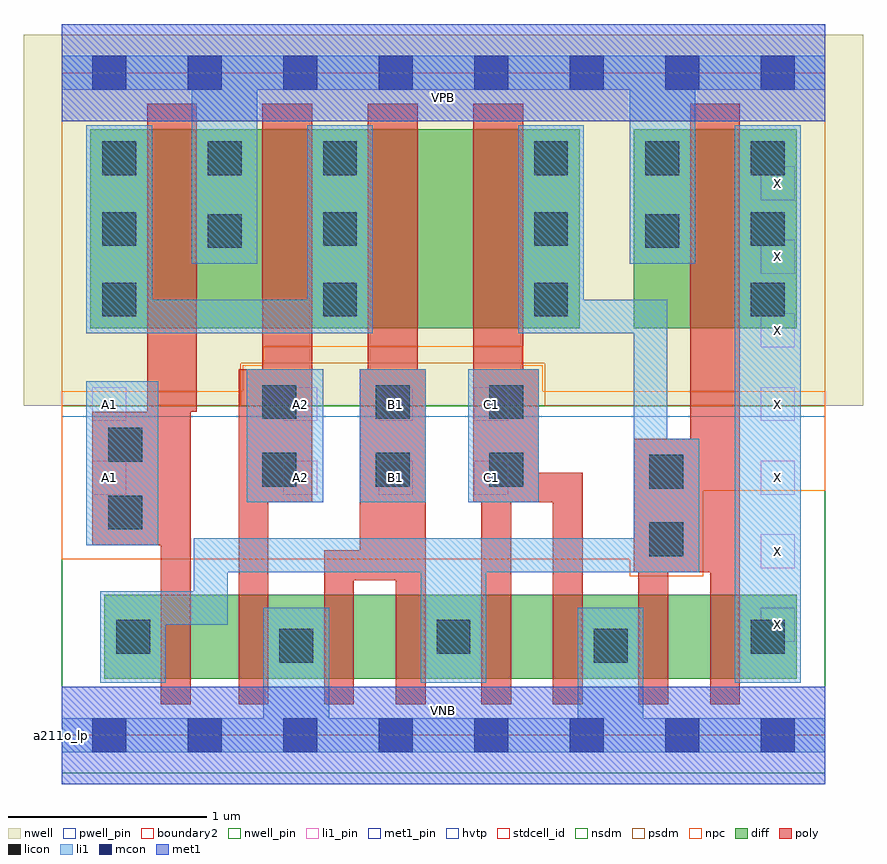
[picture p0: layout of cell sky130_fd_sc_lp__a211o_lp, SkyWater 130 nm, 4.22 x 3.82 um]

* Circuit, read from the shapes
.subckt sky130_fd_sc_lp__a211o_lp A1 A2 B1 C1 VGND VNB VPB VPWR X
XM1 n1 A1 n2 VNB sky130_fd_pr__nfet_01v8 w=0.42 l=0.15
XM2 VGND A2 n1 VNB sky130_fd_pr__nfet_01v8 w=0.42 l=0.15
XM3 n3 B1 VGND VNB sky130_fd_pr__nfet_01v8 w=0.42 l=0.15
XM4 n2 B1 n3 VNB sky130_fd_pr__nfet_01v8 w=0.42 l=0.15
XM5 n4 C1 n2 VNB sky130_fd_pr__nfet_01v8 w=0.42 l=0.15
XM6 VGND C1 n4 VNB sky130_fd_pr__nfet_01v8 w=0.42 l=0.15
XM7 n5 n2 VGND VNB sky130_fd_pr__nfet_01v8 w=0.42 l=0.15
XM8 X n2 n5 VNB sky130_fd_pr__nfet_01v8 w=0.42 l=0.15
XM9 VPWR A1 n6 VPB sky130_fd_pr__pfet_01v8_hvt w=1 l=0.25
XM10 n6 A2 VPWR VPB sky130_fd_pr__pfet_01v8_hvt w=1 l=0.25
XM11 n7 B1 n6 VPB sky130_fd_pr__pfet_01v8_hvt w=1 l=0.25
XM12 n2 C1 n7 VPB sky130_fd_pr__pfet_01v8_hvt w=1 l=0.25
XM13 X n2 VPWR VPB sky130_fd_pr__pfet_01v8_hvt w=1 l=0.25
.ends

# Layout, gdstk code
import gdstk
lib = gdstk.Library(unit=1e-6, precision=1e-09)
def R(c, l, rs):  # rectangles x0, y0, x1, y1
    for r in rs: c.add(gdstk.rectangle(r[:2], r[2:], *l))
def A(c, l, x, y, w, h, nx, ny, dx, dy):  # array of equal rectangles
    R(c, l, [(x+i*dx, y+j*dy, x+i*dx+w, y+j*dy+h) for i in range(nx) for j in range(ny)])
def P(c, l, *ps):  # polygons
    for p in ps: c.add(gdstk.Polygon(p, *l))
nwell_pin = (64, 16)
nwell = (64, 20)
diff = (65, 20)
poly = (66, 20)
licon = (66, 44)
li1_pin = (67, 16)
li1 = (67, 20)
mcon = (67, 44)
met1_pin = (68, 16)
met1 = (68, 20)
hvtp = (78, 44)
stdcell_id = (81, 4)
nsdm = (93, 44)
psdm = (94, 20)
npc = (95, 20)
pwell_pin = (122, 16)
boundary2 = (236, 0)

sky130_fd_sc_lp__a211o_l = lib.new_cell('sky130_fd_sc_lp__a211o_lp')
R(sky130_fd_sc_lp__a211o_l, nwell_pin, [(0,3.085,3.84,3.33)])
R(sky130_fd_sc_lp__a211o_l, nwell, [(-0.19,1.655,4.03,3.52)])
R(sky130_fd_sc_lp__a211o_l, diff, [(0.215,0.285,3.695,0.705), (0.145,2.045,2.605,3.045), (2.875,2.045,3.695,3.045)])
P(sky130_fd_sc_lp__a211o_l, poly, [(0.68,3.175),(0.43,3.175),(0.43,1.625),(0.155,1.625),(0.155,0.955),(0.5,0.955),(0.5,0.155),(0.65,0.155),(0.65,1.625),(0.68,1.625)],
  [(1.26,3.175),(1.01,3.175),(1.01,1.84),(0.89,1.84),(0.89,0.155),(1.04,0.155),(1.04,1.17),(1.26,1.17)],
  [(1.83,1.84),(1.79,1.84),(1.79,3.175),(1.54,3.175),(1.54,1.84),(1.5,1.84),(1.5,0.93),(1.32,0.93),(1.32,0.155),(1.47,0.155),(1.47,0.78),(1.68,0.78),(1.68,0.155),(1.83,0.155)],
  [(2.62,1.32),(2.4,1.32),(2.4,1.84),(2.32,1.84),(2.32,3.175),(2.07,3.175),(2.07,1.17),(2.11,1.17),(2.11,0.155),(2.26,0.155),(2.26,1.17),(2.47,1.17),(2.47,0.155),(2.62,0.155)],
  [(3.41,3.175),(3.16,3.175),(3.16,1.49),(2.875,1.49),(2.875,0.82),(2.9,0.82),(2.9,0.155),(3.05,0.155),(3.05,0.82),(3.26,0.82),(3.26,0.155),(3.41,0.155)])
A(sky130_fd_sc_lp__a211o_l, licon, 1.01, 1.25, 0.17, 0.17, 3, 2, 0.57, 0.34)
A(sky130_fd_sc_lp__a211o_l, licon, 0.205, 2.105, 0.17, 0.17, 1, 3, 0, 0.355)
A(sky130_fd_sc_lp__a211o_l, licon, 1.315, 2.105, 0.17, 0.17, 1, 3, 0, 0.355)
A(sky130_fd_sc_lp__a211o_l, licon, 2.375, 2.105, 0.17, 0.17, 1, 3, 0, 0.355)
A(sky130_fd_sc_lp__a211o_l, licon, 3.465, 2.105, 0.17, 0.17, 1, 3, 0, 0.355)
R(sky130_fd_sc_lp__a211o_l, licon, [(1.095,0.365,1.265,0.535), (2.675,0.365,2.845,0.535), (0.275,0.41,0.445,0.58), (1.885,0.41,2.055,0.58), (3.465,0.41,3.635,0.58), (2.955,0.9,3.125,1.07), (0.235,1.035,0.405,1.205), (2.955,1.24,3.125,1.41), (0.235,1.375,0.405,1.545), (0.735,2.45,0.905,2.62), (2.935,2.45,3.105,2.62), (0.735,2.815,0.905,2.985), (2.935,2.815,3.105,2.985)])
A(sky130_fd_sc_lp__a211o_l, li1_pin, 3.515, 0.47, 0.17, 0.17, 1, 7, 0, 0.37)
A(sky130_fd_sc_lp__a211o_l, li1_pin, 1.115, 1.21, 0.17, 0.17, 3, 2, 0.48, 0.37)
R(sky130_fd_sc_lp__a211o_l, li1_pin, [(0.155,1.21,0.325,1.38), (0.155,1.58,0.325,1.75)])
R(sky130_fd_sc_lp__a211o_l, li1, [(3.385,0.265,3.715,3.065), (0.125,0.955,0.485,1.78), (0.93,1.17,1.315,1.84), (1.5,1.17,1.83,1.84), (2.045,1.17,2.4,1.84)])
P(sky130_fd_sc_lp__a211o_l, li1, [(2.855,2.37),(2.855,3.245),(0.985,3.245),(0.985,2.37),(0.655,2.37),(0.655,3.245),(0,3.245),(0,3.415),(3.84,3.415),(3.84,3.245),(3.185,3.245),(3.185,2.37)],
  [(1.015,0.085),(1.015,0.64),(1.345,0.64),(1.345,0.085),(2.595,0.085),(2.595,0.64),(2.925,0.64),(2.925,0.085),(3.84,0.085),(3.84,-0.085),(0,-0.085),(0,0.085)],
  [(2.625,2.19),(3.045,2.19),(3.045,1.49),(3.205,1.49),(3.205,0.82),(2.135,0.82),(2.135,0.265),(1.805,0.265),(1.805,0.82),(0.835,0.82),(0.835,0.555),(0.525,0.555),(0.525,0.265),(0.195,0.265),(0.195,0.725),(0.665,0.725),(0.665,0.99),(2.875,0.99),(2.875,2.02),(2.295,2.02),(2.295,3.065),(2.625,3.065)],
  [(1.235,2.19),(1.235,3.065),(1.565,3.065),(1.565,2.02),(0.125,2.02),(0.125,3.065),(0.455,3.065),(0.455,2.19)])
A(sky130_fd_sc_lp__a211o_l, mcon, 0.155, -0.085, 0.17, 0.17, 8, 2, 0.48, 3.33)
R(sky130_fd_sc_lp__a211o_l, met1_pin, [(0,0,3.84,0.245), (0,3.085,3.84,3.33)])
R(sky130_fd_sc_lp__a211o_l, met1, [(0,-0.245,3.84,0.245), (0,3.085,3.84,3.575)])
R(sky130_fd_sc_lp__a211o_l, hvtp, [(0,1.6,3.84,3.33)])
R(sky130_fd_sc_lp__a211o_l, stdcell_id, [(0,0,3.84,3.33)])
R(sky130_fd_sc_lp__a211o_l, nsdm, [(0,-0.19,3.84,1.655)])
P(sky130_fd_sc_lp__a211o_l, psdm, [(3.84,3.52),(0,3.52),(0,1.655),(0.9,1.655),(0.9,1.87),(2.43,1.87),(2.43,1.655),(3.84,1.655)])
P(sky130_fd_sc_lp__a211o_l, npc, [(3.84,1.73),(2.42,1.73),(2.42,1.86),(2.315,1.86),(2.315,1.955),(1.015,1.955),(1.015,1.86),(0.91,1.86),(0.91,1.73),(0,1.73),(0,0.885),(2.855,0.885),(2.855,0.8),(3.225,0.8),(3.225,1.23),(3.84,1.23)])
R(sky130_fd_sc_lp__a211o_l, pwell_pin, [(0,0,3.84,0.245)])
R(sky130_fd_sc_lp__a211o_l, boundary2, [(0,0,3.84,3.33)])
sky130_fd_sc_lp__a211o_l.add(gdstk.Label('VNB', (1.92,0.123), layer=64, texttype=59))
sky130_fd_sc_lp__a211o_l.add(gdstk.Label('VPB', (1.92,3.208), layer=64, texttype=5))
sky130_fd_sc_lp__a211o_l.add(gdstk.Label('a211o_lp', (0,0), layer=83, texttype=44))
sky130_fd_sc_lp__a211o_l.add(gdstk.Label('VPWR', (1.92,3.208), layer=68, texttype=5))
sky130_fd_sc_lp__a211o_l.add(gdstk.Label('VGND', (1.92,0.123), layer=68, texttype=5))
sky130_fd_sc_lp__a211o_l.add(gdstk.Label('C1', (2.16,1.295), layer=67, texttype=5))
sky130_fd_sc_lp__a211o_l.add(gdstk.Label('C1', (2.16,1.665), layer=67, texttype=5))
sky130_fd_sc_lp__a211o_l.add(gdstk.Label('B1', (1.68,1.295), layer=67, texttype=5))
sky130_fd_sc_lp__a211o_l.add(gdstk.Label('B1', (1.68,1.665), layer=67, texttype=5))
sky130_fd_sc_lp__a211o_l.add(gdstk.Label('A2', (1.2,1.295), layer=67, texttype=5))
sky130_fd_sc_lp__a211o_l.add(gdstk.Label('A2', (1.2,1.665), layer=67, texttype=5))
sky130_fd_sc_lp__a211o_l.add(gdstk.Label('A1', (0.24,1.295), layer=67, texttype=5))
sky130_fd_sc_lp__a211o_l.add(gdstk.Label('A1', (0.24,1.665), layer=67, texttype=5))
sky130_fd_sc_lp__a211o_l.add(gdstk.Label('X', (3.6,0.555), layer=67, texttype=5))
sky130_fd_sc_lp__a211o_l.add(gdstk.Label('X', (3.6,0.925), layer=67, texttype=5))
sky130_fd_sc_lp__a211o_l.add(gdstk.Label('X', (3.6,1.295), layer=67, texttype=5))
sky130_fd_sc_lp__a211o_l.add(gdstk.Label('X', (3.6,1.665), layer=67, texttype=5))
sky130_fd_sc_lp__a211o_l.add(gdstk.Label('X', (3.6,2.035), layer=67, texttype=5))
sky130_fd_sc_lp__a211o_l.add(gdstk.Label('X', (3.6,2.405), layer=67, texttype=5))
sky130_fd_sc_lp__a211o_l.add(gdstk.Label('X', (3.6,2.775), layer=67, texttype=5))

lib.write_gds('sky130_fd_sc_lp__a211o_lp.gds')
